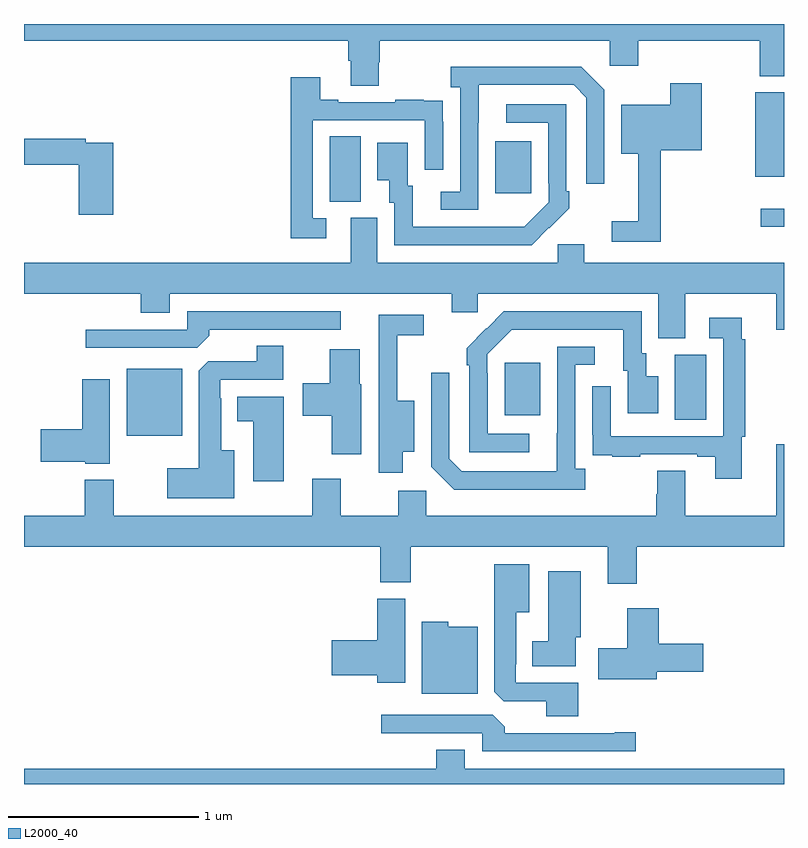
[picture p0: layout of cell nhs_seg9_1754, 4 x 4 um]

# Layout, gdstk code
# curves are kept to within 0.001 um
import gdstk
lib = gdstk.Library(unit=1e-6, precision=1e-09)
def R(c, l, rs):  # rectangles x0, y0, x1, y1
    for r in rs: c.add(gdstk.rectangle(r[:2], r[2:], *l))
def P(c, l, *ps):  # polygons
    for p in ps: c.add(gdstk.Polygon(p, *l))
L2000_40 = (2000, 40)

nhs_seg9_1754 = lib.new_cell('nhs_seg9_1754')
R(nhs_seg9_1754, L2000_40, [(209.54,1202.333,209.833,1202.686), (212.426,1202.416,212.59,1202.76), (211.529,1202.441,211.717,1202.716), (212.877,1203.432,213,1203.528), (210.608,1203.565,210.772,1203.908), (211.481,1203.609,211.669,1203.883), (212.849,1203.696,213,1204.14)])
P(nhs_seg9_1754, L2000_40, [(210.867,1204.299),(210.872,1204.299),(210.872,1204.412),(212.082,1204.412),(212.082,1204.281),(212.234,1204.281),(212.234,1204.412),(212.873,1204.412),(212.873,1204.225),(213,1204.225),(213,1204.5),(209,1204.5),(209,1204.412),(210.707,1204.412),(210.707,1204.306),(210.719,1204.306),(210.719,1204.174),(210.867,1204.174)],
  [(211.392,1203.979),(211.393,1204.179),(211.893,1204.179),(211.959,1204.113),(211.959,1203.66),(212.055,1203.66),(212.055,1204.155),(211.934,1204.276),(211.245,1204.276),(211.245,1204.166),(211.296,1204.166),(211.296,1203.618),(211.194,1203.618),(211.194,1203.522),(211.392,1203.522)],
  [(210.592,1203.477),(210.519,1203.477),(210.519,1203.993),(211.11,1203.993),(211.11,1203.732),(211.206,1203.732),(211.206,1203.986),(211.205,1203.986),(211.205,1204.095),(211.103,1204.095),(211.103,1204.102),(210.955,1204.102),(210.955,1204.089),(210.655,1204.089),(210.655,1204.102),(210.559,1204.102),(210.559,1204.219),(210.403,1204.219),(210.403,1203.372),(210.592,1203.372)],
  [(212.351,1203.836),(212.566,1203.836),(212.566,1204.189),(212.401,1204.189),(212.401,1204.075),(212.144,1204.075),(212.144,1203.818),(212.234,1203.818),(212.234,1203.463),(212.094,1203.463),(212.094,1203.354),(212.351,1203.354)],
  [(211.763,1203.427),(211.764,1203.426),(211.869,1203.531),(211.869,1203.619),(211.854,1203.619),(211.854,1204.077),(211.539,1204.077),(211.539,1203.981),(211.758,1203.981),(211.758,1203.661),(211.761,1203.661),(211.761,1203.561),(211.633,1203.433),(211.045,1203.432),(211.045,1203.648),(211.021,1203.648),(211.021,1203.874),(210.86,1203.874),(210.86,1203.677),(210.923,1203.677),(210.923,1203.558),(210.948,1203.558),(210.948,1203.336),(211.672,1203.336)],
  [(209.471,1203.876),(209.324,1203.876),(209.324,1203.896),(209,1203.896),(209,1203.76),(209.288,1203.76),(209.288,1203.495),(209.471,1203.495)],
  [(212.479,1203.08),(212.96,1203.08),(212.96,1202.892),(213,1202.892),(213,1203.244),(211.948,1203.244),(211.948,1203.342),(211.809,1203.342),(211.809,1203.244),(210.859,1203.244),(210.859,1203.48),(210.719,1203.48),(210.719,1203.244),(209,1203.244),(209,1203.08),(209.615,1203.08),(209.615,1202.981),(209.767,1202.981),(209.767,1203.08),(211.25,1203.08),(211.25,1202.982),(211.389,1202.982),(211.389,1203.08),(212.339,1203.08),(212.339,1202.845),(212.479,1202.845)],
  [(211.66,1202.343),(211.44,1202.343),(211.44,1202.663),(211.437,1202.663),(211.437,1202.763),(211.566,1202.892),(212.153,1202.892),(212.153,1202.676),(212.177,1202.676),(212.177,1202.451),(212.338,1202.451),(212.338,1202.647),(212.275,1202.647),(212.275,1202.766),(212.25,1202.766),(212.25,1202.988),(211.526,1202.988),(211.329,1202.793),(211.329,1202.705),(211.344,1202.705),(211.344,1202.247),(211.66,1202.247)],
  [(209.975,1202.858),(209.975,1202.892),(210.667,1202.892),(210.667,1202.988),(209.859,1202.988),(209.859,1202.892),(209.325,1202.892),(209.325,1202.796),(209.913,1202.796)],
  [(210.994,1202.249),(211.054,1202.249),(211.054,1202.518),(210.965,1202.518),(210.965,1202.862),(211.105,1202.862),(211.105,1202.97),(210.867,1202.97),(210.867,1202.138),(210.994,1202.138)],
  [(212.777,1202.328),(212.795,1202.328),(212.795,1202.84),(212.777,1202.84),(212.777,1202.953),(212.607,1202.953),(212.607,1202.847),(212.679,1202.847),(212.679,1202.331),(212.088,1202.331),(212.088,1202.593),(211.992,1202.593),(211.992,1202.338),(211.993,1202.338),(211.993,1202.229),(212.095,1202.229),(212.095,1202.223),(212.243,1202.223),(212.243,1202.235),(212.543,1202.235),(212.543,1202.223),(212.639,1202.223),(212.639,1202.106),(212.777,1202.106)],
  [(210.106,1202.257),(210.037,1202.257),(210.037,1202.531),(210.033,1202.531),(210.033,1202.628),(210.364,1202.628),(210.364,1202.807),(210.224,1202.807),(210.224,1202.724),(209.97,1202.724),(209.921,1202.675),(209.921,1202.161),(209.754,1202.161),(209.754,1202.003),(210.106,1202.003)],
  [(211.954,1202.158),(211.902,1202.158),(211.902,1202.706),(212.005,1202.706),(212.005,1202.802),(211.806,1202.802),(211.805,1202.145),(211.305,1202.145),(211.239,1202.211),(211.239,1202.665),(211.143,1202.665),(211.143,1202.169),(211.264,1202.048),(211.954,1202.048)],
  [(210.775,1202.604),(210.766,1202.604),(210.766,1202.788),(210.608,1202.788),(210.608,1202.608),(210.468,1202.608),(210.468,1202.439),(210.62,1202.439),(210.62,1202.235),(210.775,1202.235)],
  [(209.452,1202.629),(209.306,1202.629),(209.306,1202.366),(209.088,1202.366),(209.088,1202.195),(209.322,1202.195),(209.322,1202.186),(209.452,1202.186)],
  [(210.367,1202.539),(210.122,1202.539),(210.122,1202.408),(210.206,1202.408),(210.206,1202.094),(210.367,1202.094)],
  [(212.225,1201.748),(213,1201.748),(213,1202.287),(212.96,1202.287),(212.96,1201.912),(212.479,1201.912),(212.479,1202.15),(212.332,1202.15),(212.332,1202.025),(212.327,1202.025),(212.327,1201.912),(211.116,1201.912),(211.116,1202.044),(210.97,1202.044),(210.97,1201.912),(210.666,1201.912),(210.666,1202.107),(210.518,1202.107),(210.518,1201.912),(209.473,1201.912),(209.473,1202.101),(209.321,1202.101),(209.321,1201.912),(209,1201.912),(209,1201.748),(210.875,1201.748),(210.875,1201.561),(211.035,1201.561),(211.035,1201.748),(212.072,1201.748),(212.072,1201.554),(212.225,1201.554)],
  [(211.918,1201.032),(211.587,1201.032),(211.587,1201.129),(211.591,1201.129),(211.591,1201.403),(211.66,1201.403),(211.66,1201.657),(211.475,1201.657),(211.475,1200.985),(211.524,1200.936),(211.748,1200.936),(211.748,1200.857),(211.918,1200.857)],
  [(211.903,1201.272),(211.93,1201.272),(211.93,1201.621),(211.76,1201.621),(211.76,1201.252),(211.676,1201.252),(211.676,1201.121),(211.903,1201.121)],
  [(211.006,1201.476),(210.86,1201.476),(210.86,1201.256),(210.621,1201.256),(210.621,1201.073),(210.86,1201.073),(210.86,1201.032),(211.006,1201.032)],
  [(212.329,1201.091),(212.575,1201.091),(212.575,1201.238),(212.342,1201.238),(212.342,1201.426),(212.174,1201.426),(212.174,1201.215),(212.022,1201.215),(212.022,1201.052),(212.329,1201.052)],
  [(211.387,1201.327),(211.233,1201.327),(211.233,1201.354),(211.094,1201.354),(211.094,1200.974),(211.387,1200.974)],
  [(212.221,1200.773),(212.108,1200.773),(212.108,1200.768),(211.529,1200.768),(211.529,1200.802),(211.467,1200.864),(210.879,1200.864),(210.879,1200.768),(211.413,1200.768),(211.413,1200.672),(212.221,1200.672)],
  [(213,1200.58),(211.321,1200.58),(211.321,1200.679),(211.169,1200.679),(211.169,1200.58),(209,1200.58),(209,1200.5),(213,1200.5)])

lib.write_gds('nhs_seg9_1754.gds')
